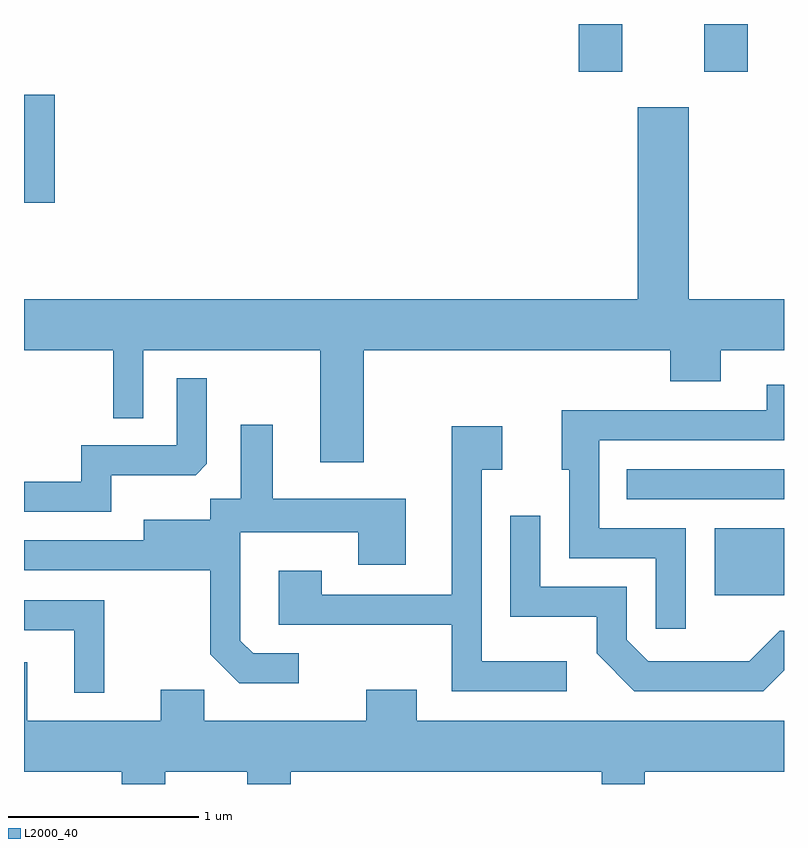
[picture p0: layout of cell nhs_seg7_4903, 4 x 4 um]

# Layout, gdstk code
import gdstk
lib = gdstk.Library(unit=1e-6, precision=1e-09)
def R(c, l, rs):  # rectangles x0, y0, x1, y1
    for r in rs: c.add(gdstk.rectangle(r[:2], r[2:], *l))
def P(c, l, *ps):  # polygons
    for p in ps: c.add(gdstk.Polygon(p, *l))
L2000_40 = (2000, 40)

nhs_seg7_4903 = lib.new_cell('nhs_seg7_4903')
R(nhs_seg7_4903, L2000_40, [(339.246,1715.246,339.611,1715.599), (338.783,1715.751,339.611,1715.909), (335.611,1717.311,335.774,1717.879), (338.531,1718.001,338.759,1718.252), (339.191,1718.001,339.419,1718.252)])
P(nhs_seg7_4903, L2000_40, [(337.399,1716.536),(339.011,1716.536),(339.011,1716.371),(339.279,1716.371),(339.279,1716.536),(339.611,1716.536),(339.611,1716.804),(339.109,1716.804),(339.109,1717.814),(338.841,1717.814),(338.841,1716.804),(335.611,1716.804),(335.611,1716.536),(336.081,1716.536),(336.081,1716.178),(336.239,1716.178),(336.239,1716.536),(337.171,1716.536),(337.171,1715.946),(337.399,1715.946)],
  [(336.069,1715.876),(336.514,1715.876),(336.574,1715.937),(336.574,1716.388),(336.416,1716.388),(336.416,1716.034),(335.911,1716.034),(335.911,1715.844),(335.611,1715.844),(335.611,1715.686),(336.069,1715.686)],
  [(339.094,1715.599),(338.639,1715.599),(338.639,1716.061),(339.611,1716.061),(339.611,1716.354),(339.521,1716.354),(339.521,1716.219),(338.441,1716.219),(338.441,1715.906),(338.481,1715.906),(338.481,1715.441),(338.936,1715.441),(338.936,1715.068),(339.094,1715.068)],
  [(337.058,1714.939),(336.817,1714.939),(336.749,1715.007),(336.749,1715.576),(337.371,1715.576),(337.371,1715.406),(337.619,1715.406),(337.619,1715.754),(336.919,1715.754),(336.919,1716.143),(336.751,1716.143),(336.751,1715.754),(336.591,1715.754),(336.591,1715.644),(336.241,1715.644),(336.241,1715.534),(335.611,1715.534),(335.611,1715.376),(336.591,1715.376),(336.591,1714.934),(336.744,1714.781),(337.058,1714.781)],
  [(338.468,1714.899),(338.019,1714.899),(338.019,1715.906),(338.129,1715.906),(338.129,1716.134),(337.861,1716.134),(337.861,1715.249),(337.179,1715.249),(337.179,1715.374),(336.951,1715.374),(336.951,1715.091),(337.861,1715.091),(337.861,1714.741),(338.468,1714.741)],
  [(339.611,1714.85),(339.611,1715.059),(339.589,1715.059),(339.429,1714.899),(338.897,1714.899),(338.784,1715.012),(338.784,1715.289),(338.329,1715.289),(338.329,1715.663),(338.171,1715.663),(338.171,1715.131),(338.626,1715.131),(338.626,1714.939),(338.824,1714.741),(339.502,1714.741)],
  [(336.034,1715.219),(335.611,1715.219),(335.611,1715.061),(335.876,1715.061),(335.876,1714.733),(336.034,1714.733)],
  [(336.354,1714.316),(336.786,1714.316),(336.786,1714.252),(337.014,1714.252),(337.014,1714.316),(338.651,1714.316),(338.651,1714.252),(338.879,1714.252),(338.879,1714.316),(339.611,1714.316),(339.611,1714.584),(337.679,1714.584),(337.679,1714.749),(337.411,1714.749),(337.411,1714.584),(336.559,1714.584),(336.559,1714.749),(336.331,1714.749),(336.331,1714.584),(335.629,1714.584),(335.629,1714.894),(335.611,1714.894),(335.611,1714.316),(336.126,1714.316),(336.126,1714.252),(336.354,1714.252)])

lib.write_gds('nhs_seg7_4903.gds')
